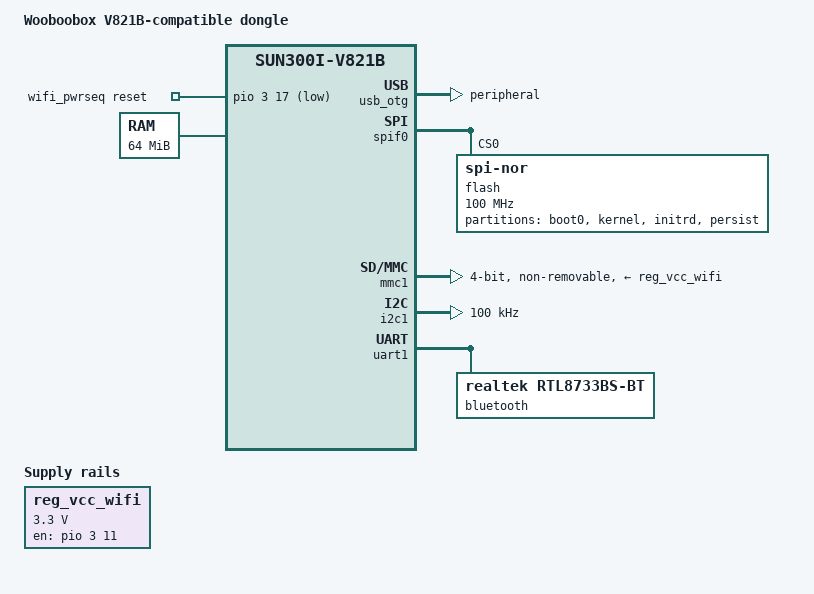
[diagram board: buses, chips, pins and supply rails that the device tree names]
// SPDX-License-Identifier: (GPL-2.0+ OR MIT)
/dts-v1/;

#include "sun300i-v821b.dtsi"
#include <dt-bindings/gpio/gpio.h>
#include <dt-bindings/input/input.h>

/ {
	model = "Wooboobox V821B-compatible dongle";
	compatible = "allwinner,v821b", "allwinner,v821", "allwinner,sun300iw1p1";

	chosen {
		bootargs = "c2a_no_ovl console= _console=ttyGS0,115200 root=/dev/mtdblock_bbt_ro2 rootfstype=erofs init=/usr/bin/carlinkit_otalib ro";
	};

	reg_vcc_wifi: regulator-vcc-wifi {
		compatible = "regulator-fixed";
		regulator-name = "vcc_wifi";
		regulator-min-microvolt = <3300000>;
		regulator-max-microvolt = <3300000>;
		gpio = <&pio 3 11 GPIO_ACTIVE_HIGH>;

		/* wifi_en_gpio: PD11 */
		enable-active-high;
	};

	wifi_pwrseq: wifi-pwrseq {
		/* This seems to do nothing on this PCB; there's no real WL_REG_ON */
		/* Not sure what "en2" originally refers to. */
		compatible = "mmc-pwrseq-simple";
		reset-gpios = <&pio 3 17 GPIO_ACTIVE_LOW>;

		/* wifi_en2_gpio: PD17 */
		post-power-on-delay-ms = <100>;
		power-off-delay-us = <5000000>;
	};

	memory@80000000 {
		device_type = "memory";
		reg = <0x0 0x80000000 0x0 0x04000000>;
	};

	/*gpio_keys: gpio-keys {
		compatible = "gpio-keys";

		debug-button {
			label = "debug-button";
			gpios = <&pio 2 16 GPIO_ACTIVE_LOW>; // PC16
			linux,input-type = <EV_KEY>;
			linux,code = <KEY_PROG1>;
			debounce-interval = <20>;
		};
	};*/
};

&usbphy {
	/* CarPlay vendor tuning */
	allwinner,rise-tune = <2>;
	allwinner,tx-tune = <8>;
	allwinner,preemp-amp-tune = <3>;
};

&usb_otg {
	dr_mode = "peripheral";
	usb-role-switch;
	status = "okay";
};

&spif0 {
	allwinner,sample-mode = <0>;
	allwinner,sample-delay = <25>;
	status = "okay";

	flash@0 {
		compatible = "jedec,spi-nor";
		reg = <0>;
		spi-max-frequency = <100000000>;
		spi-rx-bus-width = <4>;
		spi-tx-bus-width = <4>;

		partitions {
			compatible = "fixed-partitions";
			#address-cells = <1>;
			#size-cells = <1>;

			boot0@0 {
				label = "boot0";
				reg = <0x00000000 0x00040000>;

				/* 256KB */
			};

			kernel@40000 {
				label = "kernel";
				reg = <0x00040000 0x00400000>;

				/* 4MB */
			};

			initrd@440000 {
				label = "initrd";
				reg = <0x00440000 0x00b00000>;

				/* 11MB */
			};

			persist@f40000 {
				label = "persist";
				reg = <0x00f40000 0x000c0000>;

				/* 768KB */
			};
		};
	};
};

&mmc1 {
	max-frequency = <50000000>;
	bus-width = <4>;
	non-removable;
	cap-sd-highspeed;
	cap-sdio-irq;
	ignore-pm-notify;
	keep-power-in-suspend;

	vmmc-supply = <&reg_vcc_wifi>;
	mmc-pwrseq = <&wifi_pwrseq>;
	status = "okay";
	no-mmc;
	no-sd;
};

&i2c1 {
	pinctrl-names = "default";
	pinctrl-0 = <&twi1_pd_pins>;
	clock-frequency = <100000>;
	status = "okay";
};

&wdt {
	status = "disabled";
};

&uart0 {
	status = "disabled";
};

&uart1 {
	/* bluetooth */
	pinctrl-names = "default";
	pinctrl-0 = <&uart1_pd_pins>;
	uart-has-rtscts;
	status = "okay";

	bluetooth {
		compatible = "realtek,rtl8733bs-bt";
	};
};

&cpu_opp_table {
	opp-1000000000 {
		status = "okay";
	};
};
